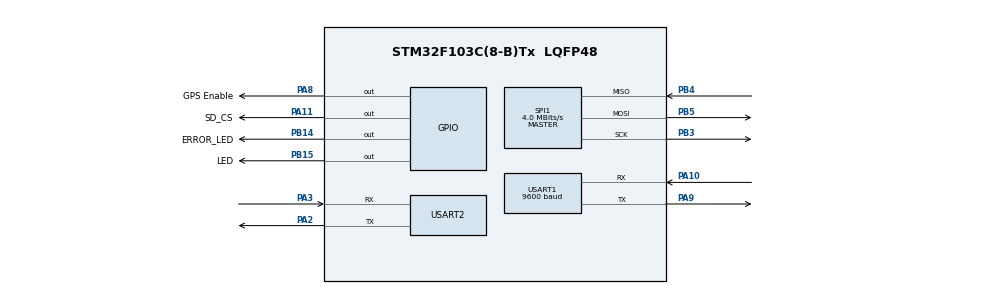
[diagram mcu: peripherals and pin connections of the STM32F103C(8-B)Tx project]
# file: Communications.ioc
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Mcu.Family=STM32F1
NVIC.DMA1_Channel6_IRQn=true\:0\:0\:false\:false\:true\:false\:true
Dma.USART2_TX.2.PeriphInc=DMA_PINC_DISABLE
Dma.USART1_RX.1.Instance=DMA1_Channel5
Dma.USART1_RX.1.MemDataAlignment=DMA_MDATAALIGN_BYTE
NVIC.DMA1_Channel5_IRQn=true\:0\:0\:false\:false\:true\:false\:true
PA10.Mode=Asynchronous
SPI1.VirtualType=VM_MASTER
Dma.USART2_TX.2.MemInc=DMA_MINC_ENABLE
USART1.BaudRate=9600
PB14.GPIO_Label=ERROR_LED
Dma.USART2_RX.0.Direction=DMA_PERIPH_TO_MEMORY
PA11.GPIO_Label=SD_CS
PB11.Signal=USART3_RX
PB15.Signal=GPIO_Output
ProjectManager.StackSize=0x400
Dma.USART2_RX.0.Mode=DMA_CIRCULAR
Dma.USART2_TX.2.PeriphDataAlignment=DMA_PDATAALIGN_BYTE
PA3.Mode=Asynchronous
PA13.Signal=SYS_JTMS-SWDIO
PA9.Mode=Asynchronous
PA8.GPIO_Label=GPS Enable
TIM1.Prescaler=64-1
ProjectManager.TargetToolchain=STM32CubeIDE
Dma.USART2_RX.0.Priority=DMA_PRIORITY_LOW
FATFS._CODE_PAGE=1
SPI1.Direction=SPI_DIRECTION_2LINES
Dma.USART2_RX.0.PeriphDataAlignment=DMA_PDATAALIGN_BYTE
PA9.Signal=USART1_TX
SPI1.CalculateBaudRate=4.0 MBits/s
Dma.USART1_RX.1.MemInc=DMA_MINC_ENABLE
VP_FATFS_VS_Generic.Mode=User_defined
PB10.Signal=USART3_TX
PB14.Signal=GPIO_Output
Dma.USART1_RX.1.PeriphDataAlignment=DMA_PDATAALIGN_BYTE
PB3.Mode=Full_Duplex_Master
Dma.USART2_TX.2.Priority=DMA_PRIORITY_LOW
FATFS._STRF_ENCODE=0
board=custom
RCC.APB2Freq_Value=8000000
PB4.Mode=Full_Duplex_Master
Dma.USART2_RX.0.MemDataAlignment=DMA_MDATAALIGN_BYTE
PB15.GPIO_Label=LED
SPI1.Mode=SPI_MODE_MASTER
PA14.Mode=Serial_Wire
PB5.Mode=Full_Duplex_Master
Dma.USART2_TX.2.MemDataAlignment=DMA_MDATAALIGN_BYTE
Dma.USART2_RX.0.Instance=DMA1_Channel6
PA8.Signal=GPIO_Output
PA13.Mode=Serial_Wire
Mcu.Name=STM32F103C(8-B)Tx
Dma.USART2_RX.0.MemInc=DMA_MINC_ENABLE
VP_TIM1_VS_ClockSourceINT.Mode=Internal
PA2.Signal=USART2_TX
Dma.USART2_TX.2.Mode=DMA_NORMAL
Dma.USART1_RX.1.Mode=DMA_CIRCULAR
PB3.Signal=SPI1_SCK
Mcu.Package=LQFP48
PB5.Signal=SPI1_MOSI
Dma.USART2_TX.2.Instance=DMA1_Channel7
Dma.USART2_RX.0.PeriphInc=DMA_PINC_DISABLE
USART2.VirtualMode=VM_ASYNC
USART1.VirtualMode=VM_ASYNC
PA11.Signal=GPIO_Output
PA10.Signal=USART1_RX
PA14.Signal=SYS_JTCK-SWCLK
ProjectManager.HeapSize=0x200
Dma.USART1_RX.1.PeriphInc=DMA_PINC_DISABLE
Dma.USART2_TX.2.Direction=DMA_MEMORY_TO_PERIPH
NVIC.PriorityGroup=NVIC_PRIORITYGROUP_4
Dma.Request2=USART2_TX
Dma.Request1=USART1_RX
PA2.Mode=Asynchronous
NVIC.DMA1_Channel7_IRQn=true\:0\:0\:false\:false\:true\:false\:true
Dma.USART1_RX.1.Direction=DMA_PERIPH_TO_MEMORY
TIM1.Period=0xFFFF-1
Dma.USART1_RX.1.Priority=DMA_PRIORITY_LOW
Dma.Request0=USART2_RX
RCC.APB1Freq_Value=8000000
PB4.Signal=SPI1_MISO
PA3.Signal=USART2_RX

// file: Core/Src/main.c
/* USER CODE BEGIN Header */
/**
  ******************************************************************************
  * @file           : main.c
  * @brief          : Main program body
  ******************************************************************************
  * @attention
  *
  * <h2><center>&copy; Copyright (c) 2020 STMicroelectronics.
  * All rights reserved.</center></h2>
  *
  * This software component is licensed by ST under BSD 3-Clause license,
  * the "License"; You may not use this file except in compliance with the
  * License. You may obtain a copy of the License at:
  *                        opensource.org/licenses/BSD-3-Clause
  *
  ******************************************************************************
  */
/* USER CODE END Header */
#include "main.h"
#include "fatfs.h"

/* USER CODE BEGIN Includes */
#include <stdio.h>
#include <string.h>
#include <stdint.h>

#include "InvokeCpp.h"
/* USER CODE END Includes */

/* USER CODE BEGIN PTD */

#define INIT_STAGE_NONE 0
#define INIT_STAGE_HAL 1
#define INIT_STAGE_SYSTEM_CLOCK 2
#define INIT_STAGE_PERHIPERALS 3
char initStage = INIT_STAGE_NONE;

#define RADIO_UART &huart2
#define GPS_UART &huart1

/* USER CODE END PTD */

SPI_HandleTypeDef hspi1;

TIM_HandleTypeDef htim1;

UART_HandleTypeDef huart1;
UART_HandleTypeDef huart2;
DMA_HandleTypeDef hdma_usart1_rx;
DMA_HandleTypeDef hdma_usart2_rx;
DMA_HandleTypeDef hdma_usart2_tx;

void SystemClock_Config(void);
static void MX_GPIO_Init(void);
static void MX_DMA_Init(void);
static void MX_USART1_UART_Init(void);
static void MX_USART2_UART_Init(void);
static void MX_SPI1_Init(void);
static void MX_TIM1_Init(void);

/* USER CODE BEGIN 0 */

const int lightDelay = 350;
void Lights(int count)
{
	if(count == 0) return;
	for (int i = 0; i < count; i++)
	{
		//HAL_GPIO_WritePin(LED_GPIO_Port, LED_Pin, GPIO_PIN_SET);
		HAL_Delay(lightDelay / 4);
		HAL_GPIO_WritePin(LED_GPIO_Port, LED_Pin, GPIO_PIN_RESET);
		HAL_Delay(lightDelay * 3 / 4);
	}
	HAL_Delay(1000);
}

void Error_Lights(int count)
{
	if(count == 0) return;
	for (int i = 0; i < count; i++)
	{
		HAL_GPIO_WritePin(LED_GPIO_Port, ERROR_LED_Pin, GPIO_PIN_SET);
		HAL_Delay(lightDelay / 4 / 10);
		HAL_GPIO_WritePin(LED_GPIO_Port, ERROR_LED_Pin, GPIO_PIN_RESET);
		HAL_Delay(lightDelay * 3 / 4 / 10);
	}
	HAL_Delay(100);
}

/* USER CODE END 0 */

int main(void)
{

  /* MCU Configuration--------------------------------------------------------*/

  /* Reset of all peripherals, Initializes the Flash interface and the Systick. */
  HAL_Init();

  /* USER CODE BEGIN Init */
  initStage = INIT_STAGE_HAL;
  /* USER CODE END Init */

  /* Configure the system clock */
  SystemClock_Config();

  /* USER CODE BEGIN SysInit */
  initStage = INIT_STAGE_SYSTEM_CLOCK;
  /* USER CODE END SysInit */

  /* Initialize all configured peripherals */
  MX_GPIO_Init();
  MX_DMA_Init();
  MX_USART1_UART_Init();
  MX_USART2_UART_Init();
  MX_SPI1_Init();
  MX_FATFS_Init();
  MX_TIM1_Init();
  /* USER CODE BEGIN 2 */

  initStage = INIT_STAGE_PERHIPERALS;
  /* USER CODE END 2 */

  /* Infinite loop */
  /* USER CODE BEGIN WHILE */
  //InvokeCpp(RADIO_UART, GPS_UART);
  //idk();
	//HAL_GPIO_WritePin(LED_GPIO_Port, LED_Pin, GPIO_PIN_RESET);
  int b;
  HAL_Delay(10 * 1000);
  int a;

  while (1)
  {
    /* USER CODE END WHILE */

    /* USER CODE BEGIN 3 */
  	Lights(10);
  }
  /* USER CODE END 3 */
}

void SystemClock_Config(void)
{
  RCC_OscInitTypeDef RCC_OscInitStruct = {0};
  RCC_ClkInitTypeDef RCC_ClkInitStruct = {0};

  /** Initializes the RCC Oscillators according to the specified parameters
  * in the RCC_OscInitTypeDef structure.
  */
  RCC_OscInitStruct.OscillatorType = RCC_OSCILLATORTYPE_HSI;
  RCC_OscInitStruct.HSIState = RCC_HSI_ON;
  RCC_OscInitStruct.HSICalibrationValue = RCC_HSICALIBRATION_DEFAULT;
  RCC_OscInitStruct.PLL.PLLState = RCC_PLL_NONE;
  if (HAL_RCC_OscConfig(&RCC_OscInitStruct) != HAL_OK)
  {
    Error_Handler();
  }
  /** Initializes the CPU, AHB and APB buses clocks
  */
  RCC_ClkInitStruct.ClockType = RCC_CLOCKTYPE_HCLK|RCC_CLOCKTYPE_SYSCLK
                              |RCC_CLOCKTYPE_PCLK1|RCC_CLOCKTYPE_PCLK2;
  RCC_ClkInitStruct.SYSCLKSource = RCC_SYSCLKSOURCE_HSI;
  RCC_ClkInitStruct.AHBCLKDivider = RCC_SYSCLK_DIV1;
  RCC_ClkInitStruct.APB1CLKDivider = RCC_HCLK_DIV1;
  RCC_ClkInitStruct.APB2CLKDivider = RCC_HCLK_DIV1;
  int result = HAL_RCC_ClockConfig(&RCC_ClkInitStruct, FLASH_LATENCY_0);
  if (result != HAL_OK)
  {
    Error_Handler();
  }
}

static void MX_SPI1_Init(void)
{

  /* SPI1 parameter configuration*/
  hspi1.Instance = SPI1;
  hspi1.Init.Mode = SPI_MODE_MASTER;
  hspi1.Init.Direction = SPI_DIRECTION_2LINES;
  hspi1.Init.DataSize = SPI_DATASIZE_8BIT;
  hspi1.Init.CLKPolarity = SPI_POLARITY_LOW;
  hspi1.Init.CLKPhase = SPI_PHASE_1EDGE;
  hspi1.Init.NSS = SPI_NSS_SOFT;
  hspi1.Init.BaudRatePrescaler = SPI_BAUDRATEPRESCALER_2;
  hspi1.Init.FirstBit = SPI_FIRSTBIT_MSB;
  hspi1.Init.TIMode = SPI_TIMODE_DISABLE;
  hspi1.Init.CRCCalculation = SPI_CRCCALCULATION_DISABLE;
  hspi1.Init.CRCPolynomial = 10;
  if (HAL_SPI_Init(&hspi1) != HAL_OK)
  {
    Error_Handler();
  }

}

static void MX_TIM1_Init(void)
{

  TIM_ClockConfigTypeDef sClockSourceConfig = {0};
  TIM_MasterConfigTypeDef sMasterConfig = {0};

  htim1.Instance = TIM1;
  htim1.Init.Prescaler = 64-1;
  htim1.Init.CounterMode = TIM_COUNTERMODE_UP;
  htim1.Init.Period = 0xFFFF-1;
  htim1.Init.ClockDivision = TIM_CLOCKDIVISION_DIV1;
  htim1.Init.RepetitionCounter = 0;
  htim1.Init.AutoReloadPreload = TIM_AUTORELOAD_PRELOAD_DISABLE;
  if (HAL_TIM_Base_Init(&htim1) != HAL_OK)
  {
    Error_Handler();
  }
  sClockSourceConfig.ClockSource = TIM_CLOCKSOURCE_INTERNAL;
  if (HAL_TIM_ConfigClockSource(&htim1, &sClockSourceConfig) != HAL_OK)
  {
    Error_Handler();
  }
  sMasterConfig.MasterOutputTrigger = TIM_TRGO_RESET;
  sMasterConfig.MasterSlaveMode = TIM_MASTERSLAVEMODE_DISABLE;
  if (HAL_TIMEx_MasterConfigSynchronization(&htim1, &sMasterConfig) != HAL_OK)
  {
    Error_Handler();
  }

}

static void MX_USART1_UART_Init(void)
{

  huart1.Instance = USART1;
  huart1.Init.BaudRate = 9600;
  huart1.Init.WordLength = UART_WORDLENGTH_8B;
  huart1.Init.StopBits = UART_STOPBITS_1;
  huart1.Init.Parity = UART_PARITY_NONE;
  huart1.Init.Mode = UART_MODE_TX_RX;
  huart1.Init.HwFlowCtl = UART_HWCONTROL_NONE;
  huart1.Init.OverSampling = UART_OVERSAMPLING_16;
  if (HAL_UART_Init(&huart1) != HAL_OK)
  {
    Error_Handler();
  }

}

static void MX_USART2_UART_Init(void)
{

  huart2.Instance = USART2;
  huart2.Init.BaudRate = 115200;
  huart2.Init.WordLength = UART_WORDLENGTH_8B;
  huart2.Init.StopBits = UART_STOPBITS_1;
  huart2.Init.Parity = UART_PARITY_NONE;
  huart2.Init.Mode = UART_MODE_TX_RX;
  huart2.Init.HwFlowCtl = UART_HWCONTROL_NONE;
  huart2.Init.OverSampling = UART_OVERSAMPLING_16;
  if (HAL_UART_Init(&huart2) != HAL_OK)
  {
    Error_Handler();
  }

}

static void MX_DMA_Init(void)
{

  /* DMA controller clock enable */
  __HAL_RCC_DMA1_CLK_ENABLE();

  /* DMA interrupt init */
  /* DMA1_Channel5_IRQn interrupt configuration */
  HAL_NVIC_SetPriority(DMA1_Channel5_IRQn, 0, 0);
  HAL_NVIC_EnableIRQ(DMA1_Channel5_IRQn);
  /* DMA1_Channel6_IRQn interrupt configuration */
  HAL_NVIC_SetPriority(DMA1_Channel6_IRQn, 0, 0);
  HAL_NVIC_EnableIRQ(DMA1_Channel6_IRQn);
  /* DMA1_Channel7_IRQn interrupt configuration */
  HAL_NVIC_SetPriority(DMA1_Channel7_IRQn, 0, 0);
  HAL_NVIC_EnableIRQ(DMA1_Channel7_IRQn);

}

static void MX_GPIO_Init(void)
{
  GPIO_InitTypeDef GPIO_InitStruct = {0};

  /* GPIO Ports Clock Enable */
  __HAL_RCC_GPIOA_CLK_ENABLE();
  __HAL_RCC_GPIOB_CLK_ENABLE();

  /*Configure GPIO pin Output Level */
  HAL_GPIO_WritePin(GPIOB, ERROR_LED_Pin|LED_Pin, GPIO_PIN_RESET);

  /*Configure GPIO pin Output Level */
  HAL_GPIO_WritePin(GPIOA, GPS_Enable_Pin|SD_CS_Pin, GPIO_PIN_RESET);

  /*Configure GPIO pin : PB10 */
  GPIO_InitStruct.Pin = GPIO_PIN_10;
  GPIO_InitStruct.Mode = GPIO_MODE_AF_PP;
  GPIO_InitStruct.Speed = GPIO_SPEED_FREQ_HIGH;
  HAL_GPIO_Init(GPIOB, &GPIO_InitStruct);

  /*Configure GPIO pin : PB11 */
  GPIO_InitStruct.Pin = GPIO_PIN_11;
  GPIO_InitStruct.Mode = GPIO_MODE_INPUT;
  GPIO_InitStruct.Pull = GPIO_NOPULL;
  HAL_GPIO_Init(GPIOB, &GPIO_InitStruct);

  /*Configure GPIO pins : ERROR_LED_Pin LED_Pin */
  GPIO_InitStruct.Pin = ERROR_LED_Pin|LED_Pin;
  GPIO_InitStruct.Mode = GPIO_MODE_OUTPUT_PP;
  GPIO_InitStruct.Pull = GPIO_NOPULL;
  GPIO_InitStruct.Speed = GPIO_SPEED_FREQ_LOW;
  HAL_GPIO_Init(GPIOB, &GPIO_InitStruct);

  /*Configure GPIO pins : GPS_Enable_Pin SD_CS_Pin */
  GPIO_InitStruct.Pin = GPS_Enable_Pin|SD_CS_Pin;
  GPIO_InitStruct.Mode = GPIO_MODE_OUTPUT_PP;
  GPIO_InitStruct.Pull = GPIO_NOPULL;
  GPIO_InitStruct.Speed = GPIO_SPEED_FREQ_LOW;
  HAL_GPIO_Init(GPIOA, &GPIO_InitStruct);

}

/* USER CODE BEGIN 4 */

void UARTWriteSync(UART_HandleTypeDef* uart, const void* data, uint32_t length)
{
	HAL_UART_Transmit(uart, (uint8_t*) data, length, HAL_MAX_DELAY);
}

void UARTReadSync(UART_HandleTypeDef* uart, void* data, uint32_t length)
{
	HAL_UART_Receive(uart, (uint8_t*) data, length, HAL_MAX_DELAY);
}

void My_Error_Handler(void)
{
	/* USER CODE BEGIN Error_Handler_Debug */
	/* User can add his own implementation to report the HAL error return state */
	while (1)
	{
		Error_Lights(10);
	}
	/* USER CODE END Error_Handler_Debug */
}

void DelayUS(uint16_t us)
{
	__HAL_TIM_SET_COUNTER(&htim1,0);  // set the counter value a 0
	while (__HAL_TIM_GET_COUNTER(&htim1) < us);  // wait for the counter to reach the us input in the
}

/* USER CODE END 4 */

void Error_Handler(void)
{
  /* USER CODE BEGIN Error_Handler_Debug */
	/* User can add his own implementation to report the HAL error return state */
	while (1)
	{
		Error_Lights(10);
	}
  /* USER CODE END Error_Handler_Debug */
}

/************************ (C) COPYRIGHT STMicroelectronics *****END OF FILE****/
